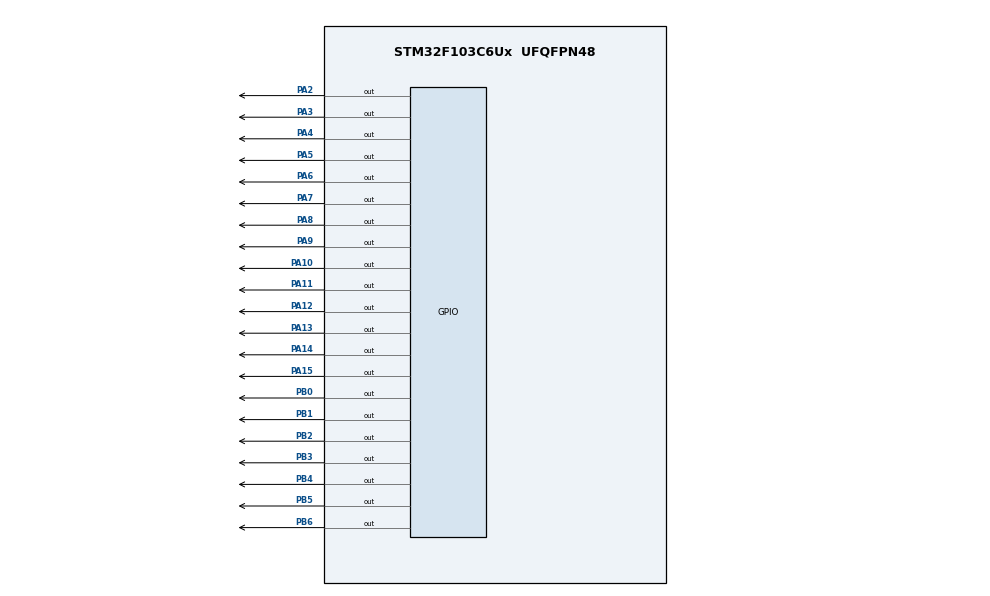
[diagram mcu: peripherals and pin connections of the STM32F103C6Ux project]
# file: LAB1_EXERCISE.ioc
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Mcu.Family=STM32F1
Mcu.Name=STM32F103C6Ux
Mcu.Package=UFQFPN48
NVIC.PriorityGroup=NVIC_PRIORITYGROUP_4
PA10.Signal=GPIO_Output
PA11.Signal=GPIO_Output
PA12.Signal=GPIO_Output
PA13.Signal=GPIO_Output
PA14.Signal=GPIO_Output
PA15.Signal=GPIO_Output
PA2.Signal=GPIO_Output
PA3.Signal=GPIO_Output
PA4.Signal=GPIO_Output
PA5.Signal=GPIO_Output
PA6.Signal=GPIO_Output
PA7.Signal=GPIO_Output
PA8.Signal=GPIO_Output
PA9.Signal=GPIO_Output
PB0.Signal=GPIO_Output
PB1.Signal=GPIO_Output
PB2.Signal=GPIO_Output
PB3.Signal=GPIO_Output
PB4.Signal=GPIO_Output
PB5.Signal=GPIO_Output
PB6.Signal=GPIO_Output
ProjectManager.HeapSize=0x200
ProjectManager.StackSize=0x400
ProjectManager.TargetToolchain=STM32CubeIDE
RCC.APB1Freq_Value=8000000
RCC.APB2Freq_Value=8000000
VP_SYS_VS_ND.Mode=No_Debug
board=custom

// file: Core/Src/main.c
/* USER CODE BEGIN Header */
/**
  ******************************************************************************
  * @file           : main.c
  * @brief          : Main program body
  ******************************************************************************
  * @attention
  *
  * <h2><center>&copy; Copyright (c) 2023 STMicroelectronics.
  * All rights reserved.</center></h2>
  *
  * This software component is licensed by ST under BSD 3-Clause license,
  * the "License"; You may not use this file except in compliance with the
  * License. You may obtain a copy of the License at:
  *                        opensource.org/licenses/BSD-3-Clause
  *
  ******************************************************************************
  */
/* USER CODE END Header */
#include "main.h"

void SystemClock_Config(void);
static void MX_GPIO_Init(void);

int main(void)
{

  /* MCU Configuration--------------------------------------------------------*/

  /* Reset of all peripherals, Initializes the Flash interface and the Systick. */
  HAL_Init();

  /* Configure the system clock */
  SystemClock_Config();

  /* Initialize all configured peripherals */
  MX_GPIO_Init();
  /* USER CODE BEGIN 2 */
  uint16_t ledPin[12] = {GPIO_PIN_4, GPIO_PIN_5, GPIO_PIN_6, GPIO_PIN_7,
						 GPIO_PIN_8, GPIO_PIN_9, GPIO_PIN_10, GPIO_PIN_11,
						 GPIO_PIN_12, GPIO_PIN_13, GPIO_PIN_14, GPIO_PIN_15};
    void checkLed(int num){
    			HAL_GPIO_WritePin(GPIOA, GPIO_PIN_4 | GPIO_PIN_5 | GPIO_PIN_6 |
    							  GPIO_PIN_7 | GPIO_PIN_8 | GPIO_PIN_9 |
    							  GPIO_PIN_10 | GPIO_PIN_11 | GPIO_PIN_12 |
    							  GPIO_PIN_13 | GPIO_PIN_14 | GPIO_PIN_15,
    							  GPIO_PIN_SET);
    			HAL_GPIO_WritePin(GPIOA, ledPin[num], GPIO_PIN_RESET);
    }

    void clearAllClock() {
    	HAL_GPIO_WritePin(GPIOA, GPIO_PIN_4 | GPIO_PIN_5 | GPIO_PIN_6 |
    							 GPIO_PIN_7 | GPIO_PIN_8 | GPIO_PIN_9 |
    							 GPIO_PIN_10 | GPIO_PIN_11 | GPIO_PIN_12 |
								 GPIO_PIN_13 | GPIO_PIN_14 | GPIO_PIN_15,
    							 GPIO_PIN_SET);
    }
    void setNumberOnClock(int num) {
    	HAL_GPIO_WritePin(GPIOA, ledPin[num], GPIO_PIN_RESET);
    }
    void clearNumberOnClock(int num) {
    	HAL_GPIO_WritePin(GPIOA, ledPin[num], GPIO_PIN_SET);
    }

    void setTime(int hour, int minute, int second) {
    	setNumberOnClock(hour);
    	setNumberOnClock(minute/5);
    	setNumberOnClock(second/5);
    }

  /* USER CODE END 2 */

  /* Infinite loop */
  /* USER CODE BEGIN WHILE */
  while (1)
  {
	  // This is exercise 10

	  clearAllClock();
	  setTime(7, 5, 20);
	  HAL_Delay(1000);

    /* USER CODE END WHILE */

  }
}

void SystemClock_Config(void)
{
  RCC_OscInitTypeDef RCC_OscInitStruct = {0};
  RCC_ClkInitTypeDef RCC_ClkInitStruct = {0};

  /** Initializes the RCC Oscillators according to the specified parameters
  * in the RCC_OscInitTypeDef structure.
  */
  RCC_OscInitStruct.OscillatorType = RCC_OSCILLATORTYPE_HSI;
  RCC_OscInitStruct.HSIState = RCC_HSI_ON;
  RCC_OscInitStruct.HSICalibrationValue = RCC_HSICALIBRATION_DEFAULT;
  RCC_OscInitStruct.PLL.PLLState = RCC_PLL_NONE;
  if (HAL_RCC_OscConfig(&RCC_OscInitStruct) != HAL_OK)
  {
    Error_Handler();
  }
  /** Initializes the CPU, AHB and APB buses clocks
  */
  RCC_ClkInitStruct.ClockType = RCC_CLOCKTYPE_HCLK|RCC_CLOCKTYPE_SYSCLK
                              |RCC_CLOCKTYPE_PCLK1|RCC_CLOCKTYPE_PCLK2;
  RCC_ClkInitStruct.SYSCLKSource = RCC_SYSCLKSOURCE_HSI;
  RCC_ClkInitStruct.AHBCLKDivider = RCC_SYSCLK_DIV1;
  RCC_ClkInitStruct.APB1CLKDivider = RCC_HCLK_DIV1;
  RCC_ClkInitStruct.APB2CLKDivider = RCC_HCLK_DIV1;

  if (HAL_RCC_ClockConfig(&RCC_ClkInitStruct, FLASH_LATENCY_0) != HAL_OK)
  {
    Error_Handler();
  }
}

static void MX_GPIO_Init(void)
{
  GPIO_InitTypeDef GPIO_InitStruct = {0};

  /* GPIO Ports Clock Enable */
  __HAL_RCC_GPIOA_CLK_ENABLE();
  __HAL_RCC_GPIOB_CLK_ENABLE();

  /*Configure GPIO pin Output Level */
  HAL_GPIO_WritePin(GPIOA, GPIO_PIN_2|GPIO_PIN_3|GPIO_PIN_4|GPIO_PIN_5
                          |GPIO_PIN_6|GPIO_PIN_7|GPIO_PIN_8|GPIO_PIN_9
                          |GPIO_PIN_10|GPIO_PIN_11|GPIO_PIN_12|GPIO_PIN_13
                          |GPIO_PIN_14|GPIO_PIN_15, GPIO_PIN_RESET);

  /*Configure GPIO pin Output Level */
  HAL_GPIO_WritePin(GPIOB, GPIO_PIN_0|GPIO_PIN_1|GPIO_PIN_2|GPIO_PIN_3
                          |GPIO_PIN_4|GPIO_PIN_5|GPIO_PIN_6, GPIO_PIN_RESET);

  /*Configure GPIO pins : PA2 PA3 PA4 PA5
                           PA6 PA7 PA8 PA9
                           PA10 PA11 PA12 PA13
                           PA14 PA15 */
  GPIO_InitStruct.Pin = GPIO_PIN_2|GPIO_PIN_3|GPIO_PIN_4|GPIO_PIN_5
                          |GPIO_PIN_6|GPIO_PIN_7|GPIO_PIN_8|GPIO_PIN_9
                          |GPIO_PIN_10|GPIO_PIN_11|GPIO_PIN_12|GPIO_PIN_13
                          |GPIO_PIN_14|GPIO_PIN_15;
  GPIO_InitStruct.Mode = GPIO_MODE_OUTPUT_PP;
  GPIO_InitStruct.Pull = GPIO_NOPULL;
  GPIO_InitStruct.Speed = GPIO_SPEED_FREQ_LOW;
  HAL_GPIO_Init(GPIOA, &GPIO_InitStruct);

  /*Configure GPIO pins : PB0 PB1 PB2 PB3
                           PB4 PB5 PB6 */
  GPIO_InitStruct.Pin = GPIO_PIN_0|GPIO_PIN_1|GPIO_PIN_2|GPIO_PIN_3
                          |GPIO_PIN_4|GPIO_PIN_5|GPIO_PIN_6;
  GPIO_InitStruct.Mode = GPIO_MODE_OUTPUT_PP;
  GPIO_InitStruct.Pull = GPIO_NOPULL;
  GPIO_InitStruct.Speed = GPIO_SPEED_FREQ_LOW;
  HAL_GPIO_Init(GPIOB, &GPIO_InitStruct);

}

void Error_Handler(void)
{
  __disable_irq();
  while (1)
  {
  }
}

/************************ (C) COPYRIGHT STMicroelectronics *****END OF FILE****/
